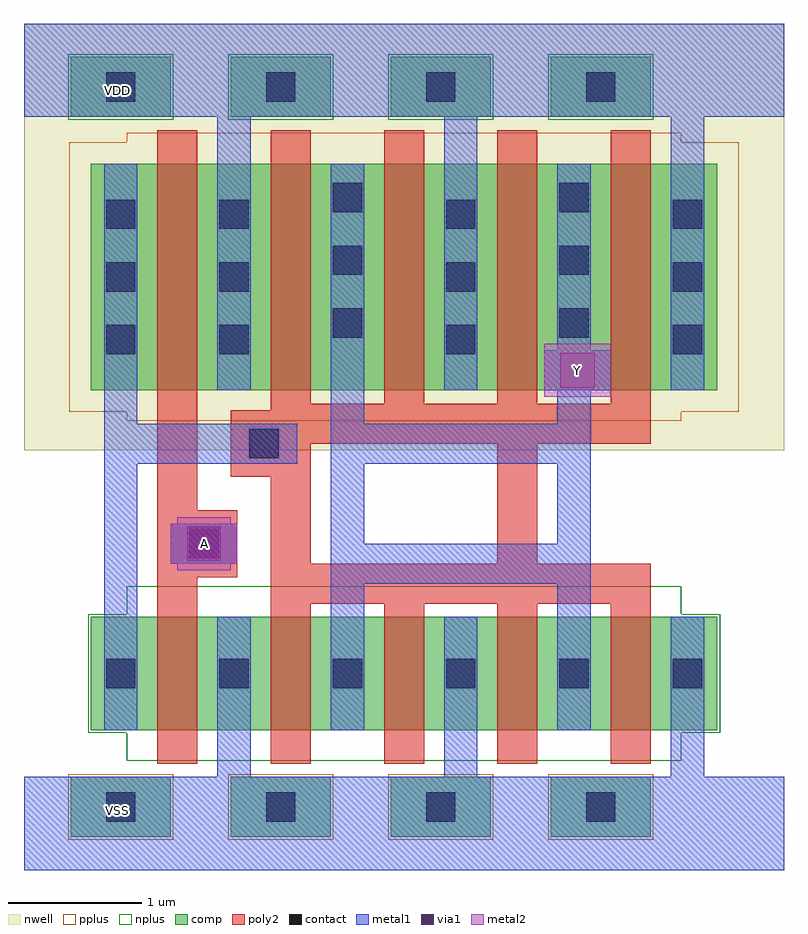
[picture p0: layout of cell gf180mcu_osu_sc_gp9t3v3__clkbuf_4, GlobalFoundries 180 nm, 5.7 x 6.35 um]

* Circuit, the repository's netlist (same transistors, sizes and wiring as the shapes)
* Copyright 2022 Google LLC
*
* Licensed under the Apache License, Version 2.0 (the "License");
* you may not use this file except in compliance with the License.
* You may obtain a copy of the License at
*
*      http://www.apache.org/licenses/LICENSE-2.0
*
* Unless required by applicable law or agreed to in writing, software
* distributed under the License is distributed on an "AS IS" BASIS,
* WITHOUT WARRANTIES OR CONDITIONS OF ANY KIND, either express or implied.
* See the License for the specific language governing permissions and
* limitations under the License.

.option scale=0.05u

.subckt gf180mcu_osu_sc_gp9t3v3__clkbuf_4 A Y
X0 Y a_9_19 VDD VDD pmos_3p3 w=34 l=6
X1 VSS a_9_19 Y VSS nmos_3p3 w=17 l=6
X2 VSS A a_9_19 VSS nmos_3p3 w=17 l=6
X3 VDD a_9_19 Y VDD pmos_3p3 w=34 l=6
X4 VDD A a_9_19 VDD pmos_3p3 w=34 l=6
X5 VSS a_9_19 Y VSS nmos_3p3 w=17 l=6
X6 Y a_9_19 VSS VSS nmos_3p3 w=17 l=6
X7 VDD a_9_19 Y VDD pmos_3p3 w=34 l=6
X8 Y a_9_19 VSS VSS nmos_3p3 w=17 l=6
X9 Y a_9_19 VDD VDD pmos_3p3 w=34 l=6
.ends

** hspice subcircuit dictionary

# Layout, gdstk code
import gdstk
lib = gdstk.Library(unit=1e-6, precision=1e-09)
def R(c, l, rs):  # rectangles x0, y0, x1, y1
    for r in rs: c.add(gdstk.rectangle(r[:2], r[2:], *l))
def A(c, l, x, y, w, h, nx, ny, dx, dy):  # array of equal rectangles
    R(c, l, [(x+i*dx, y+j*dy, x+i*dx+w, y+j*dy+h) for i in range(nx) for j in range(ny)])
nwell = (21, 0)
comp = (22, 0)
poly2 = (30, 0)
pplus = (31, 0)
nplus = (32, 0)
contact = (33, 0)
metal1 = (34, 0)
via1 = (35, 0)
metal2 = (36, 0)

gf180mcu_osu_sc_gp9t3v3_ = lib.new_cell('gf180mcu_osu_sc_gp9t3v3__clkbuf_4')
R(gf180mcu_osu_sc_gp9t3v3_, nwell, [(0,3.1,5.7,6.3)])
A(gf180mcu_osu_sc_gp9t3v3_, comp, 0.35, 0.2, 0.75, 0.45, 4, 2, 1.2, 5.4)
R(gf180mcu_osu_sc_gp9t3v3_, comp, [(0.5,1,5.2,1.85), (0.5,3.55,5.2,5.25)])
A(gf180mcu_osu_sc_gp9t3v3_, poly2, 1.85, 0.75, 0.3, 1.2, 4, 1, 0.85, 0)
A(gf180mcu_osu_sc_gp9t3v3_, poly2, 1.85, 3.45, 0.3, 2.05, 4, 1, 0.85, 0)
R(gf180mcu_osu_sc_gp9t3v3_, poly2, [(1,0.75,1.3,2.15), (1.85,1.95,4.7,2.25), (1,2.15,1.6,2.65), (1.85,2.25,2.15,2.9), (3.55,2.25,3.85,3.15), (1,2.65,1.3,5.5), (1.55,2.9,2.15,3.15), (1.55,3.15,4.7,3.4), (1.85,3.4,4.7,3.45)])
A(gf180mcu_osu_sc_gp9t3v3_, pplus, 0.33, 0.18, 0.79, 0.49, 4, 1, 1.2, 0)
R(gf180mcu_osu_sc_gp9t3v3_, pplus, [(0.77,3.32,4.93,3.39), (0.34,3.39,5.36,5.41), (0.77,5.41,4.93,5.48)])
A(gf180mcu_osu_sc_gp9t3v3_, nplus, 0.33, 5.58, 0.79, 0.49, 4, 1, 1.2, 0)
R(gf180mcu_osu_sc_gp9t3v3_, nplus, [(0.77,0.77,4.93,0.98), (0.48,0.98,5.22,1.87), (0.77,1.87,4.93,2.08)])
A(gf180mcu_osu_sc_gp9t3v3_, contact, 0.615, 0.315, 0.22, 0.22, 4, 2, 1.2, 5.4)
A(gf180mcu_osu_sc_gp9t3v3_, contact, 0.615, 1.315, 0.22, 0.22, 6, 1, 0.85, 0)
A(gf180mcu_osu_sc_gp9t3v3_, contact, 0.615, 3.82, 0.22, 0.22, 1, 3, 0, 0.47)
A(gf180mcu_osu_sc_gp9t3v3_, contact, 1.465, 3.82, 0.22, 0.22, 3, 3, 1.7, 0.47)
A(gf180mcu_osu_sc_gp9t3v3_, contact, 2.315, 3.945, 0.22, 0.22, 1, 3, 0, 0.47)
A(gf180mcu_osu_sc_gp9t3v3_, contact, 4.015, 3.945, 0.22, 0.22, 1, 3, 0, 0.47)
R(gf180mcu_osu_sc_gp9t3v3_, contact, [(1.24,2.29,1.46,2.51), (1.69,3.04,1.91,3.26)])
A(gf180mcu_osu_sc_gp9t3v3_, metal1, 1.45, 0.65, 0.25, 1.2, 3, 1, 1.7, 0)
A(gf180mcu_osu_sc_gp9t3v3_, metal1, 1.45, 3.55, 0.25, 2.05, 3, 1, 1.7, 0)
R(gf180mcu_osu_sc_gp9t3v3_, metal1, [(0,-0.05,5.7,0.65), (0.6,1,0.85,3), (2.3,1,2.55,2.1), (4,1,4.25,2.1), (2.3,2.1,4.25,2.4), (1.1,2.25,1.6,2.55), (2.3,2.4,2.55,3), (4,2.4,4.25,3), (0.6,3,2.05,3.3), (2.3,3,4.25,3.3), (0.6,3.3,0.85,5.25), (2.3,3.3,2.55,5.25), (4,3.3,4.25,3.55), (3.9,3.55,4.4,3.85), (4,3.85,4.25,5.25), (0,5.6,5.7,6.3)])
R(gf180mcu_osu_sc_gp9t3v3_, via1, [(1.22,2.27,1.48,2.53), (4.02,3.57,4.28,3.83)])
R(gf180mcu_osu_sc_gp9t3v3_, metal2, [(1.15,2.2,1.55,2.25), (1.1,2.25,1.6,2.55), (1.15,2.55,1.55,2.6), (3.9,3.5,4.4,3.9)])
gf180mcu_osu_sc_gp9t3v3_.add(gdstk.Label('A', (1.35,2.4), layer=36, texttype=10))
gf180mcu_osu_sc_gp9t3v3_.add(gdstk.Label('Y', (4.15,3.7), layer=36, texttype=10))
gf180mcu_osu_sc_gp9t3v3_.add(gdstk.Label('VDD', (0.7,5.8), layer=34, texttype=10))
gf180mcu_osu_sc_gp9t3v3_.add(gdstk.Label('VSS', (0.7,0.4), layer=34, texttype=10))

lib.write_gds('gf180mcu_osu_sc_gp9t3v3__clkbuf_4.gds')
